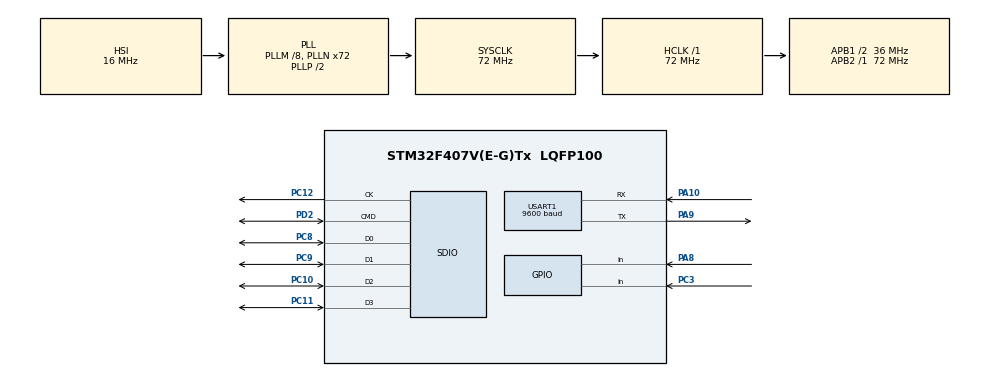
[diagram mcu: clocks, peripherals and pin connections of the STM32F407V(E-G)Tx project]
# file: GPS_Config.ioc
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FATFS.BSP.number=1
FATFS0.BSP.STBoard=false
FATFS0.BSP.api=Unknown
FATFS0.BSP.i2caddr=0
FATFS0.BSP.instance=PA8
FATFS0.BSP.ip=GPIO
FATFS0.BSP.mode=Input
FATFS0.BSP.name=Detect_SDIO
FATFS0.BSP.solution=PA8
Mcu.Family=STM32F4
Mcu.Name=STM32F407V(E-G)Tx
Mcu.Package=LQFP100
NVIC.PriorityGroup=NVIC_PRIORITYGROUP_4
NVIC.USART1_IRQn=true\:0\:0\:false\:false\:true\:true\:true
PA10.Mode=Asynchronous
PA10.Signal=USART1_RX
PA13.Mode=Serial_Wire
PA13.Signal=SYS_JTMS-SWDIO
PA14.Mode=Serial_Wire
PA14.Signal=SYS_JTCK-SWCLK
PA8.Signal=GPIO_Input
PA9.Mode=Asynchronous
PA9.Signal=USART1_TX
PC10.Mode=SD_4_bits_Wide_bus
PC10.Signal=SDIO_D2
PC11.Mode=SD_4_bits_Wide_bus
PC11.Signal=SDIO_D3
PC12.Mode=SD_4_bits_Wide_bus
PC12.Signal=SDIO_CK
PC3.Signal=GPIO_Input
PC8.Mode=SD_4_bits_Wide_bus
PC8.Signal=SDIO_D0
PC9.Mode=SD_4_bits_Wide_bus
PC9.Signal=SDIO_D1
PD2.Mode=SD_4_bits_Wide_bus
PD2.Signal=SDIO_CMD
PH0-OSC_IN.Mode=HSE-External-Oscillator
PH0-OSC_IN.Signal=RCC_OSC_IN
PH1-OSC_OUT.Mode=HSE-External-Oscillator
PH1-OSC_OUT.Signal=RCC_OSC_OUT
ProjectManager.HeapSize=0x200
ProjectManager.StackSize=0x400
ProjectManager.TargetToolchain=TrueSTUDIO
RCC.48MHZClocksFreq_Value=48000000
RCC.AHBFreq_Value=72000000
RCC.APB1CLKDivider=RCC_HCLK_DIV2
RCC.APB1Freq_Value=36000000
RCC.APB1TimFreq_Value=72000000
RCC.APB2Freq_Value=72000000
RCC.APB2TimFreq_Value=72000000
RCC.CortexFreq_Value=72000000
RCC.HCLKFreq_Value=72000000
RCC.HSE_VALUE=25000000
RCC.HSI_VALUE=16000000
RCC.LSE_VALUE=32768
RCC.PLLM=8
RCC.PLLN=72
RCC.PLLQ=3
RCC.SYSCLKFreq_VALUE=72000000
RCC.SYSCLKSource=RCC_SYSCLKSOURCE_PLLCLK
RCC.VCOOutputFreq_Value=144000000
USART1.BaudRate=9600
USART1.VirtualMode=VM_ASYNC
VP_FATFS_VS_SDIO.Mode=SDIO
board=custom

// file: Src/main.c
/* USER CODE BEGIN Header */
/**
  ******************************************************************************
  * @file           : main.c
  * @brief          : Main program body
  ******************************************************************************
  * @attention
  *
  * <h2><center>&copy; Copyright (c) 2019 STMicroelectronics.
  * All rights reserved.</center></h2>
  *
  * This software component is licensed by ST under Ultimate Liberty license
  * SLA0044, the "License"; You may not use this file except in compliance with
  * the License. You may obtain a copy of the License at:
  *                             www.st.com/SLA0044
  *
  ******************************************************************************
  */
/* USER CODE END Header */

#include "main.h"
#include "fatfs.h"
#include "sdio.h"
#include "usart.h"
#include "gpio.h"

/* USER CODE BEGIN Includes */
#include "SDCARD.h"
/* USER CODE END Includes */

/* USER CODE BEGIN PV */
uint8_t bufferRX[32000];
uint32_t counter = 1;
uint32_t satir = 0;
/* USER CODE END PV */

void SystemClock_Config(void);

int main(void)
{

  /* MCU Configuration--------------------------------------------------------*/

  /* Reset of all peripherals, Initializes the Flash interface and the Systick. */
  HAL_Init();

  /* Configure the system clock */
  SystemClock_Config();

  /* Initialize all configured peripherals */
  MX_GPIO_Init();
  MX_SDIO_SD_Init();
  MX_USART1_UART_Init();
  MX_FATFS_Init();
  /* USER CODE BEGIN 2 */
  initSDCARD(&SDCARD);

  /* USER CODE END 2 */

  /* Infinite loop */
  while (1)
  {

    /* USER CODE BEGIN 3 */
	if(counter == 1){
		while(counter){
			HAL_UART_Receive(&huart1,bufferRX,32000,30000);
			for(int i=0; i<32000; i++){
						 if(f_mount(&SDCARD.fatfs,"",1)== FR_OK){
						    f_open(&SDCARD.logFile,"rocket.txt", FA_OPEN_ALWAYS|FA_OPEN_APPEND|FA_WRITE);
						    if(satir == 15){
						    	f_printf(&SDCARD.logFile,"%d,\n",*(bufferRX+i));
						    	satir = 0;
						    }else{
						    	f_printf(&SDCARD.logFile,"%d,",*(bufferRX+i));
						    	satir ++;
						    }
						    f_close(&SDCARD.logFile);
						 }
			counter = counter + 1;
			}

			counter = 0;
	}
  }
  /* USER CODE END 3 */
}
}
void SystemClock_Config(void)
{
  RCC_OscInitTypeDef RCC_OscInitStruct = {0};
  RCC_ClkInitTypeDef RCC_ClkInitStruct = {0};

  /** Configure the main internal regulator output voltage
  */
  __HAL_RCC_PWR_CLK_ENABLE();
  __HAL_PWR_VOLTAGESCALING_CONFIG(PWR_REGULATOR_VOLTAGE_SCALE1);
  /** Initializes the CPU, AHB and APB busses clocks
  */
  RCC_OscInitStruct.OscillatorType = RCC_OSCILLATORTYPE_HSI;
  RCC_OscInitStruct.HSIState = RCC_HSI_ON;
  RCC_OscInitStruct.HSICalibrationValue = RCC_HSICALIBRATION_DEFAULT;
  RCC_OscInitStruct.PLL.PLLState = RCC_PLL_ON;
  RCC_OscInitStruct.PLL.PLLSource = RCC_PLLSOURCE_HSI;
  RCC_OscInitStruct.PLL.PLLM = 8;
  RCC_OscInitStruct.PLL.PLLN = 72;
  RCC_OscInitStruct.PLL.PLLP = RCC_PLLP_DIV2;
  RCC_OscInitStruct.PLL.PLLQ = 3;
  if (HAL_RCC_OscConfig(&RCC_OscInitStruct) != HAL_OK)
  {
    Error_Handler();
  }
  /** Initializes the CPU, AHB and APB busses clocks
  */
  RCC_ClkInitStruct.ClockType = RCC_CLOCKTYPE_HCLK|RCC_CLOCKTYPE_SYSCLK
                              |RCC_CLOCKTYPE_PCLK1|RCC_CLOCKTYPE_PCLK2;
  RCC_ClkInitStruct.SYSCLKSource = RCC_SYSCLKSOURCE_PLLCLK;
  RCC_ClkInitStruct.AHBCLKDivider = RCC_SYSCLK_DIV1;
  RCC_ClkInitStruct.APB1CLKDivider = RCC_HCLK_DIV2;
  RCC_ClkInitStruct.APB2CLKDivider = RCC_HCLK_DIV1;

  if (HAL_RCC_ClockConfig(&RCC_ClkInitStruct, FLASH_LATENCY_2) != HAL_OK)
  {
    Error_Handler();
  }
}

void Error_Handler(void)
{
}

/************************ (C) COPYRIGHT STMicroelectronics *****END OF FILE****/
